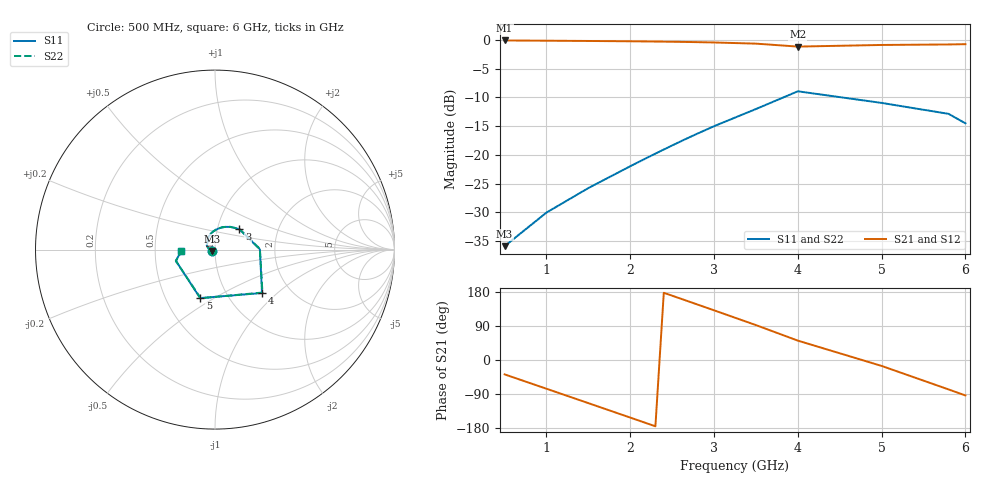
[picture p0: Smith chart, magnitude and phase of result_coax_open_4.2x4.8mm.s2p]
! PCB + BWSMA; two 4.2 x 4.8 mm L2 cutouts; stop at ground-pin inner edges
! Reference planes: coax annuli x=-8.10 and 28.26 mm; connectors included
# Hz S RI R 50
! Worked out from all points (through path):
!   20 points, 500 MHz to 6 GHz, reference 50 ohm
!   highest |S21| = -0.12 dB at 500 MHz (marker M1); lowest = -1.2 dB at 4 GHz (marker M2)
!   lowest |S11| = -35.9 dB at 500 MHz (marker M3), VSWR 1.03, Z = 48.6 - j0.668 ohm
!   |S11| at or under -10 dB: start of sweep to 3.831 GHz; 4.516 GHz to end of sweep
!   |S22| runs from -35.9 to -9.0 dB; largest |S21 - S12| = 1.4e-12
!   S11 on the Smith chart (normalised r, x): 500 MHz: 0.97, -0.01; 3 GHz: 1.27, +0.30; 4 GHz: 1.45, -0.80; 5 GHz: 0.74, -0.43; 6 GHz: 0.68, -0.01
5e8  -0.0145 -0.00688  0.778 -0.6068  0.778 -0.6068  -0.0145 -0.00676
1e9  -0.0314 -0.00233  0.2397 -0.952  0.2397 -0.952  -0.0313 -0.00204
1.5e9  -0.0459 0.0231  -0.3949 -0.8931  -0.3949 -0.8931  -0.0457 0.0234
2e9  -0.0368 0.0705  -0.8565 -0.4557  -0.8565 -0.4557  -0.0368 0.0705
2.2e9  -0.0203 0.092  -0.9434 -0.2127  -0.9434 -0.2127  -0.0205 0.092
2.3e9  -0.00858 0.102  -0.9616 -0.0848  -0.9616 -0.0848  -0.00888 0.102
2.4e9  0.00566 0.111  -0.9624 0.0443  -0.9624 0.0443  0.00521 0.1111
2.45e9  0.0137 0.1149  -0.9563 0.1086  -0.9563 0.1086  0.0132 0.1151
2.5e9  0.0224 0.1184  -0.9458 0.1722  -0.9458 0.1722  0.0218 0.1187
2.55e9  0.0316 0.1214  -0.931 0.235  -0.931 0.235  0.031 0.1217
2.6e9  0.0415 0.1238  -0.9121 0.2966  -0.9121 0.2966  0.0407 0.1242
2.65e9  0.0518 0.1256  -0.889 0.3568  -0.889 0.3568  0.051 0.126
2.7e9  0.0627 0.1266  -0.8618 0.4152  -0.8618 0.4152  0.0619 0.1272
2.8e9  0.0858 0.1262  -0.796 0.5257  -0.796 0.5257  0.0849 0.127
3e9  0.1357 0.114  -0.6229 0.7143  -0.6229 0.7143  0.1348 0.1154
3.5e9  0.25 0.00158  -0.034 0.9251  -0.034 0.9251  0.2502 0.00431
4e9  0.262 -0.2418  0.5475 0.6795  0.5475 0.6795  0.2643 -0.2392
5e9  -0.0828 -0.2701  0.8683 -0.2433  0.8683 -0.2433  -0.0795 -0.271
5.8e9  -0.2182 -0.0622  0.1936 -0.8899  0.1936 -0.8899  -0.2176 -0.0643
6e9  -0.1876 -0.00787  -0.0564 -0.9142  -0.0564 -0.9142  -0.1876 -0.00982
